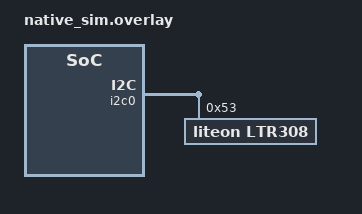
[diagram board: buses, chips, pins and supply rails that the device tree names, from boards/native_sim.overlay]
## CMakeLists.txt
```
# Copyright (c) 2026 Richard Osterloh
# SPDX-License-Identifier: Apache-2.0

cmake_minimum_required(VERSION 3.20.0)
find_package(Zephyr REQUIRED HINTS $ENV{ZEPHYR_BASE})
project(ltr308_test)

FILE(GLOB app_sources src/*.c)
target_sources(app PRIVATE ${app_sources})

# The driver's private header, for the register map and the lux formula
zephyr_include_directories(${ZEPHYR_DRIVERS_REPO_ROOT}/drivers/sensor/ltr308)
```

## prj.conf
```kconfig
CONFIG_ZTEST=y
CONFIG_EMUL=y

CONFIG_I2C=y
CONFIG_I2C_EMUL=y

CONFIG_SENSOR=y
```

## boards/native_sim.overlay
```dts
/*
 * Copyright (c) 2026 Richard Osterloh
 * SPDX-License-Identifier: Apache-2.0
 */

&i2c0 {
	status = "okay";

	ltr308: ltr308@53 {
		compatible = "liteon,ltr308";
		reg = <0x53>;
		gain = <6>;
		integration-time-ms = <50>;
		measurement-rate-ms = <500>;
	};
};
```

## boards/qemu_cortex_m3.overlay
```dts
/*
 * Copyright (c) 2026 Richard Osterloh
 * SPDX-License-Identifier: Apache-2.0
 */

#include <zephyr/dt-bindings/i2c/i2c.h>

/ {
	fake_i2c_bus: i2c@100 {
		compatible = "zephyr,i2c-emul-controller";
		reg = <0x100 4>;
		clock-frequency = <I2C_BITRATE_STANDARD>;
		#address-cells = <1>;
		#size-cells = <0>;
		status = "okay";

		ltr308: ltr308@53 {
			compatible = "liteon,ltr308";
			reg = <0x53>;
			gain = <6>;
			integration-time-ms = <50>;
			measurement-rate-ms = <500>;
		};
	};
};
```

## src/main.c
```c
/*
 * Copyright (c) 2026 Richard Osterloh <richard.osterloh@gmail.com>
 * SPDX-License-Identifier: Apache-2.0
 */

#include <zephyr/device.h>
#include <zephyr/drivers/emul.h>
#include <zephyr/drivers/i2c.h>
#include <zephyr/drivers/i2c_emul.h>
#include <zephyr/drivers/sensor.h>
#include <zephyr/ztest.h>

#include "ltr308.h"

#define DT_DRV_COMPAT liteon_ltr308

/* Register-file emulator: what the driver wrote, and data the test sets. */
static uint8_t regs[0x30];

static int ltr308_emul_transfer(const struct emul *target, struct i2c_msg *msgs, int num_msgs,
				int addr)
{
	uint8_t reg;

	ARG_UNUSED(target);
	ARG_UNUSED(addr);

	if (num_msgs < 1 || (msgs[0].flags & I2C_MSG_READ) || msgs[0].len < 1) {
		return -EIO;
	}
	reg = msgs[0].buf[0];

	if (num_msgs == 1) {
		for (uint32_t i = 1; i < msgs[0].len; i++) {
			regs[reg + i - 1] = msgs[0].buf[i];
		}
		return 0;
	}

	if (num_msgs == 2 && (msgs[1].flags & I2C_MSG_READ)) {
		for (uint32_t i = 0; i < msgs[1].len; i++) {
			msgs[1].buf[i] = regs[reg + i];
		}
		return 0;
	}

	return -EIO;
}

static const struct i2c_emul_api ltr308_emul_api = {
	.transfer = ltr308_emul_transfer,
};

static int ltr308_emul_init(const struct emul *target, const struct device *parent)
{
	ARG_UNUSED(target);
	ARG_UNUSED(parent);

	regs[LTR308_REG_PART_ID] = LTR308_PART_ID;
	return 0;
}

EMUL_DT_INST_DEFINE(0, ltr308_emul_init, NULL, NULL, &ltr308_emul_api, NULL);

static const struct device *const dev = DEVICE_DT_GET(DT_NODELABEL(ltr308));

ZTEST(ltr308, test_init_config)
{
	zassert_true(device_is_ready(dev));
	zassert_equal(regs[LTR308_REG_MAIN_CTRL], LTR308_ALS_ENABLE);
	/* 6x gain is code 2 */
	zassert_equal(regs[LTR308_REG_GAIN], 2);
	/* 50 ms / 17 bit is code 3, 500 ms rate is code 3 */
	zassert_equal(regs[LTR308_REG_MEAS_RATE], 0x33);
}

ZTEST(ltr308, test_lux)
{
	struct sensor_value val;

	/* 0x12345 counts, 20-bit field with junk in the top nibble */
	regs[LTR308_REG_DATA_0] = 0x45;
	regs[LTR308_REG_DATA_0 + 1] = 0x23;
	regs[LTR308_REG_DATA_0 + 2] = 0xf1;

	zassert_ok(sensor_sample_fetch(dev));
	zassert_ok(sensor_channel_get(dev, SENSOR_CHAN_LIGHT, &val));

	/* 74565 * 0.6 / 6 * (100 / 50) = 14913 lux */
	zassert_equal(val.val1, 14913);
	zassert_equal(val.val2, 0);
	zassert_equal(sensor_channel_get(dev, SENSOR_CHAN_AMBIENT_TEMP, &val), -ENOTSUP);
}

ZTEST(ltr308, test_ulux_formula)
{
	/* Power-on defaults: 3x, 100 ms; one count is 0.2 lux */
	zassert_equal(ltr308_ulux(1, 3, 100), 200000);
	/* Full scale at 18x, 400 ms stays in range */
	zassert_equal(ltr308_ulux(LTR308_DATA_MASK, 18, 400), 8738125000ULL);
}

static int set_attr(enum sensor_attribute attr, int32_t val1, int32_t val2)
{
	const struct sensor_value val = {.val1 = val1, .val2 = val2};

	return sensor_attr_set(dev, SENSOR_CHAN_LIGHT, attr, &val);
}

ZTEST(ltr308, test_attr)
{
	struct sensor_value val;

	/* Devicetree settings read back */
	zassert_ok(sensor_attr_get(dev, SENSOR_CHAN_LIGHT, SENSOR_ATTR_GAIN, &val));
	zassert_equal(val.val1, 6);
	zassert_ok(sensor_attr_get(dev, SENSOR_CHAN_LIGHT, SENSOR_ATTR_RESOLUTION, &val));
	zassert_equal(val.val1, 17);
	zassert_ok(sensor_attr_get(dev, SENSOR_CHAN_LIGHT, SENSOR_ATTR_SAMPLING_FREQUENCY, &val));
	zassert_true(val.val1 == 2 && val.val2 == 0);

	zassert_ok(set_attr(SENSOR_ATTR_GAIN, 18, 0));
	zassert_equal(regs[LTR308_REG_GAIN], 4);
	zassert_equal(set_attr(SENSOR_ATTR_GAIN, 5, 0), -EINVAL);
	zassert_equal(regs[LTR308_REG_GAIN], 4);

	/* 20 bit is 400 ms, fits the 500 ms rate */
	zassert_ok(set_attr(SENSOR_ATTR_RESOLUTION, 20, 0));
	zassert_equal(regs[LTR308_REG_MEAS_RATE], 0x03);
	/* 10 Hz is 100 ms, shorter than 400 ms integration */
	zassert_equal(set_attr(SENSOR_ATTR_SAMPLING_FREQUENCY, 10, 0), -EINVAL);
	zassert_equal(regs[LTR308_REG_MEAS_RATE], 0x03);
	zassert_equal(set_attr(SENSOR_ATTR_RESOLUTION, 21, 0), -EINVAL);

	/* 1 count at 18x, 400 ms is 1/120 lux */
	regs[LTR308_REG_DATA_0] = 120;
	regs[LTR308_REG_DATA_0 + 1] = 0;
	regs[LTR308_REG_DATA_0 + 2] = 0;
	zassert_ok(sensor_sample_fetch(dev));
	zassert_ok(sensor_channel_get(dev, SENSOR_CHAN_LIGHT, &val));
	zassert_true(val.val1 == 1 && val.val2 == 0);

	zassert_ok(set_attr(SENSOR_ATTR_RESOLUTION, 16, 0));
	zassert_ok(set_attr(SENSOR_ATTR_SAMPLING_FREQUENCY, 40, 0));
	zassert_equal(regs[LTR308_REG_MEAS_RATE], 0x40);
	zassert_ok(set_attr(SENSOR_ATTR_SAMPLING_FREQUENCY, 0, 500000));
	zassert_equal(regs[LTR308_REG_MEAS_RATE], 0x46);
	zassert_ok(sensor_attr_get(dev, SENSOR_CHAN_LIGHT, SENSOR_ATTR_SAMPLING_FREQUENCY, &val));
	zassert_true(val.val1 == 0 && val.val2 == 500000);
	zassert_ok(set_attr(SENSOR_ATTR_SAMPLING_FREQUENCY, 1, 0));
	zassert_equal(regs[LTR308_REG_MEAS_RATE], 0x45);
	zassert_equal(set_attr(SENSOR_ATTR_SAMPLING_FREQUENCY, 3, 0), -EINVAL);
	zassert_equal(set_attr(SENSOR_ATTR_OFFSET, 1, 0), -ENOTSUP);

	/* Back to the devicetree settings for the other tests */
	zassert_ok(set_attr(SENSOR_ATTR_GAIN, 6, 0));
	zassert_ok(set_attr(SENSOR_ATTR_SAMPLING_FREQUENCY, 2, 0));
	zassert_ok(set_attr(SENSOR_ATTR_RESOLUTION, 17, 0));
	zassert_equal(regs[LTR308_REG_MEAS_RATE], 0x33);
}

ZTEST_SUITE(ltr308, NULL, NULL, NULL, NULL, NULL);
```
